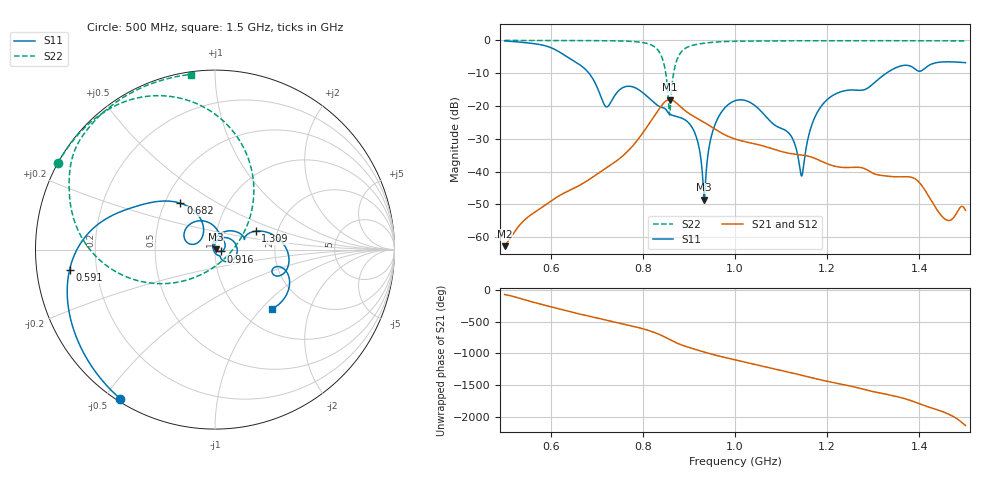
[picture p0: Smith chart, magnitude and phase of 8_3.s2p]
! TOUCHSTONE file generated by CST MICROWAVE STUDIO
! Date and time: Fri Oct 30 07:49:55 2020
! Project name: Scenario_1_Circular_Tissue_out_of_Line.cst
! Parameters = {dy1=-224.613; L_HA=400; MT=2.54; Rad_Dielectric=30; Rad_Lower=7.3; Rad_Upper=30; a_HA=580; a_WG=246; b_HA=500; b_WG=121; c_HA=0; c_WG=187; d_feed=85; dx1=520; h_feed=15; h_lower=18; h_upper=40}
! Header version: 2018
! Port assignment regex: !\s*Touchstone port\s*([0-9]+)\s*=\s*(CST MWS port|CST DS port)\s*([0-9]+|Zmin|Zmax)\s*\(\"(.*)\"\)(\s*mode\s*([0-9]+))?.*
! Touchstone port assignment:
! Touchstone port 1 = CST MWS port 1 ("")
! Touchstone port 2 = CST MWS port 2 ("")
# GHz S DB R 50
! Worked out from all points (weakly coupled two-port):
!   1001 points, 500 MHz to 1.5 GHz, reference 50 ohm
!   highest |S21| = -18.04 dB at 858 MHz (marker M1); lowest = -62.8 dB at 500 MHz (marker M2)
!   lowest |S11| = -48.6 dB at 933 MHz (marker M3), VSWR 1.01, Z = 50.3 + j0.162 ohm
!   |S11| at or under -10 dB: 683 MHz to 1.328 GHz (645.4 MHz wide, 64.2 % of centre)
!   |S22| runs from -22.8 to 0.0 dB; largest |S21 - S12| = 3.5e-05
!   S11 on the Smith chart (normalised r, x): 500 MHz: 0.01, -0.55; 591 MHz: 0.10, -0.07; 682 MHz: 0.60, +0.35; 916 MHz: 1.07, -0.02; 1.309 GHz: 1.54, +0.34; 1.5 GHz: 1.37, -1.15
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0.5  -0.14 -122.5  -62.78 -71.6  -62.78 -71.6  -0.01 151.1
0.591  -1.74 -172.1  -49.96 112.5  -49.96 112.5  -0.02 144.8
0.667  -7.81 138.5  -43.88 -25.6  -43.88 -25.6  -0.04 138.4
0.682  -9.83 126.7  -42.57 -50.3  -42.57 -50.3  -0.05 136.9
0.72  -20.24 140.5  -38.94 -115.2  -38.94 -115.2  -0.09 132.3
0.769  -13.97 141.1  -33.56 164.2  -33.56 164.2  -0.25 123.4
0.834  -19.99 78.5  -21.16 23.6  -21.16 23.6  -3.17 84.0
0.858  -22.44 56.8  -18.04 -62.4  -18.04 -62.4  -22.76 -44.8
0.877  -23.34 41.8  -19.60 -128.6  -19.60 -128.6  -4.92 -167.6
0.916  -29.45 -17.6  -23.62 137.2  -23.62 137.2  -1.23 159.2
0.933  -48.58 25.5  -24.99 100.2  -24.99 100.2  -0.85 153.5
0.956  -25.91 78.6  -27.05 53.7  -27.05 53.7  -0.52 148.0
1  -18.40 11.8  -30.07 -22.6  -30.07 -22.6  -0.26 140.3
1.116  -28.15 -58.4  -34.41 140.9  -34.41 140.9  -0.11 128.3
1.144  -41.32 -153.2  -34.94 94.4  -34.94 94.4  -0.11 126.0
1.167  -25.64 93.6  -35.64 52.7  -35.64 52.7  -0.10 124.2
1.209  -17.08 48.3  -38.09 -15.8  -38.09 -15.8  -0.09 120.9
1.309  -12.11 24.4  -40.98 -177.7  -40.98 -177.7  -0.08 113.4
1.334  -9.48 14.0  -41.46 144.4  -41.46 144.4  -0.09 111.5
1.393  -8.96 -23.3  -42.43 22.9  -42.43 22.9  -0.10 106.9
1.459  -6.52 -34.4  -54.78 -146.3  -54.78 -146.4  -0.11 101.5
1.5  -6.79 -46.2  -51.84 20.2  -51.83 20.3  -0.13 97.9
